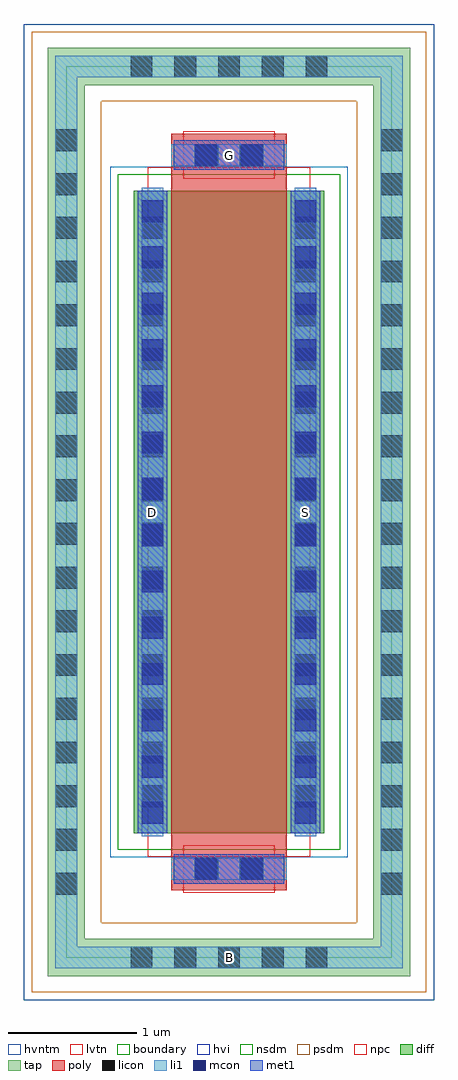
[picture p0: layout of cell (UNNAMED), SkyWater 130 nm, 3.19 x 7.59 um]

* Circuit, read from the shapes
.subckt (UNNAMED) B D G S
XM1 S G D B sky130_fd_pr__nfet_05v0_nvt w=5 l=0.9
.ends

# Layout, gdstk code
import gdstk
lib = gdstk.Library(unit=1e-6, precision=1e-09)
def R(c, l, rs):  # rectangles x0, y0, x1, y1
    for r in rs: c.add(gdstk.rectangle(r[:2], r[2:], *l))
def A(c, l, x, y, w, h, nx, ny, dx, dy):  # array of equal rectangles
    R(c, l, [(x+i*dx, y+j*dy, x+i*dx+w, y+j*dy+h) for i in range(nx) for j in range(ny)])
diff = (65, 20)
tap = (65, 44)
poly = (66, 20)
licon = (66, 44)
li1 = (67, 20)
mcon = (67, 44)
met1 = (68, 20)
hvi = (75, 20)
nsdm = (93, 44)
psdm = (94, 20)
npc = (95, 20)
hvntm = (125, 20)
lvtn = (125, 44)
boundary = (235, 4)

c__unnamed_ = lib.new_cell('(UNNAMED)')
R(c__unnamed_, diff, [(-0.74,-2.5,0.74,2.5)])
R(c__unnamed_, tap, [(-1.41,-3.61,1.41,-3.32), (-1.41,-3.32,-1.12,3.32), (1.12,-3.32,1.41,3.32), (-1.41,3.32,1.41,3.61)])
R(c__unnamed_, poly, [(-0.45,-2.94,0.45,2.94)])
A(c__unnamed_, licon, -0.765, -3.55, 0.17, 0.17, 5, 2, 0.34, 6.93)
A(c__unnamed_, licon, -1.35, -2.975, 0.17, 0.17, 1, 18, 0, 0.34)
A(c__unnamed_, licon, 1.18, -2.975, 0.17, 0.17, 1, 18, 0, 0.34)
A(c__unnamed_, licon, -0.68, -2.295, 0.17, 0.17, 1, 14, 0, 0.34)
A(c__unnamed_, licon, 0.51, -2.295, 0.17, 0.17, 1, 14, 0, 0.34)
R(c__unnamed_, licon, [(-0.255,-2.86,-0.085,-2.69), (0.085,-2.86,0.255,-2.69), (-0.255,2.69,-0.085,2.86), (0.085,2.69,0.255,2.86)])
R(c__unnamed_, li1, [(-1.35,-3.55,1.35,-3.38), (-1.35,-3.38,-1.18,3.38), (1.18,-3.38,1.35,3.38), (-0.45,-2.86,0.45,-2.69), (-0.68,-2.52,-0.51,2.52), (0.51,-2.52,0.68,2.52), (-0.45,2.69,0.45,2.86), (-1.35,3.38,1.35,3.55)])
A(c__unnamed_, mcon, -0.68, -2.425, 0.17, 0.17, 1, 14, 0, 0.36)
A(c__unnamed_, mcon, 0.51, -2.425, 0.17, 0.17, 1, 14, 0, 0.36)
R(c__unnamed_, mcon, [(-0.265,-2.86,-0.095,-2.69), (0.095,-2.86,0.265,-2.69), (-0.265,2.69,-0.095,2.86), (0.095,2.69,0.265,2.86)])
R(c__unnamed_, met1, [(-0.43,-2.89,0.43,-2.66), (-0.71,-2.5,-0.48,2.5), (0.48,-2.5,0.71,2.5), (-0.43,2.66,0.43,2.89)])
R(c__unnamed_, hvi, [(-1.595,-3.795,1.595,3.795)])
R(c__unnamed_, nsdm, [(-0.865,-2.625,0.865,2.625)])
R(c__unnamed_, psdm, [(-1.535,-3.735,1.535,-3.195), (-1.535,-3.195,-0.995,3.195), (0.995,-3.195,1.535,3.195), (-1.535,3.195,1.535,3.735)])
R(c__unnamed_, npc, [(-0.355,-2.96,0.355,-2.59), (-0.355,2.59,0.355,2.96)])
R(c__unnamed_, hvntm, [(-0.925,-2.685,0.925,2.685)])
R(c__unnamed_, lvtn, [(-0.63,-2.68,0.63,2.68)])
R(c__unnamed_, boundary, [(-1.265,-3.465,1.265,3.465)])
c__unnamed_.add(gdstk.Label('B', (0,-3.465), layer=67, texttype=5))
c__unnamed_.add(gdstk.Label('D', (-0.595,0), layer=67, texttype=5))
c__unnamed_.add(gdstk.Label('S', (0.595,0), layer=67, texttype=5))
c__unnamed_.add(gdstk.Label('G', (0,2.775), layer=67, texttype=5))

lib.write_gds('_UNNAMED_.gds')
